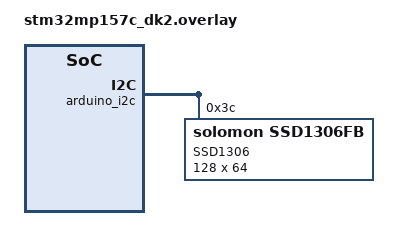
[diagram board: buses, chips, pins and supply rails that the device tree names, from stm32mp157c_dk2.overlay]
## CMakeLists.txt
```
# SPDX-License-Identifier: Apache-2.0

cmake_minimum_required(VERSION 3.13.1)

# This sample is specific to x_nucleo_iks01a2 shield. Enforce -DSHIELD option
set(SHIELD x_nucleo_iks01a2)

include($ENV{ZEPHYR_BASE}/cmake/app/boilerplate.cmake NO_POLICY_SCOPE)
project(x_nucleo_iks01a2)

zephyr_compile_definitions(
  -DMETAL_MAX_DEVICE_REGIONS=2
  -DVIRTIO_SLAVE_ONLY
  )
target_include_directories(app PRIVATE $ENV{ZEPHYR_BASE}/drivers)
target_include_directories(app PRIVATE ${LIBMETAL_INCLUDE_DIR} ${OPENAMP_INCLUDE_DIR} ${PLATFORM_DIR})

FILE(GLOB app_sources src/*.c)
target_sources(app PRIVATE ${app_sources})
target_include_directories(app PRIVATE ${CMAKE_CURRENT_SOURCE_DIR}/..)
```

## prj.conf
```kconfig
CONFIG_STDOUT_CONSOLE=y
CONFIG_I2C=y
CONFIG_I2C_STM32_INTERRUPT=y
CONFIG_SENSOR=y
CONFIG_HTS221=y
CONFIG_LPS22HB=y
CONFIG_LSM6DSL=n
CONFIG_LIS2DH=n
CONFIG_LIS2MDL=n
CONFIG_HTS221_TRIGGER_NONE=y
CONFIG_LIS2MDL_TRIGGER_NONE=y

# Kmalloc
CONFIG_HEAP_MEM_POOL_SIZE=16384
#CONFIG_HEAP_MEM_POOL_SIZE=8096

# add display
CONFIG_DISPLAY=y
CONFIG_CFB_LOG_LEVEL_DBG=y
CONFIG_CHARACTER_FRAMEBUFFER=y
CONFIG_SSD1306=y

CONFIG_KERNEL_BIN_NAME="zephyr_shield_openamp_tty"
CONFIG_PRINTK=n
CONFIG_IPM=y
CONFIG_IPM_MCUX=y
CONFIG_PLATFORM_SPECIFIC_INIT=n
CONFIG_MAIN_STACK_SIZE=4096
CONFIG_OPENAMP=y
CONFIG_RSC_TABLE_NUM_RPMSG_BUFF=16
CONFIG_RSC_TABLE=y
```

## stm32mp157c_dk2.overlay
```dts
/*
 * Copyright (c) 2018, Diego Sueiro
 *
 * SPDX-License-Identifier: Apache-2.0
 */

/ {
	chosen {
		/*
		 * shared memory reserved for the inter-processor communication
		 */
		zephyr,ipc_shm = &mcusram3;
	};

	mcusram3: memory1@10040000 {
		compatible = "mmio-sram";
		reg = <0x10040000 DT_SIZE_K(64)>;
	};
};

&arduino_i2c {

	ssd1306@3c {
		compatible = "solomon,ssd1306fb";
		reg = <0x3c>;
		label = "SSD1306";
		width = <128>;
		height = <64>;
		segment-offset = <0>;
		page-offset = <0>;
		display-offset = <0>;
		segment-remap;
		com-invdir;
		prechargep = <0x22>;
	};
};


&mcusram {
	reg = <0x10000000 DT_SIZE_K(256)>;
};
```

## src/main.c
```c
/*
 * Copyright (c) 2018 STMicroelectronics
 *
 * SPDX-License-Identifier: Apache-2.0
 */

#include <zephyr.h>
#include <device.h>
#include <drivers/sensor.h>
#include <stdio.h>
#include <string.h>
#include <sys/util.h>

/* Display / Framebuffer */
#include <display/cfb.h>
#if defined(CONFIG_SSD1306)
#define DISPLAY_DRIVER		"SSD1306"
#endif

static struct sensor_value temp1, temp2, hum, press;
static struct sensor_value accel1[3], accel2[3];
static struct sensor_value gyro[3];
static struct sensor_value magn[3];
static struct device *hts221;
static struct device *lps22hb;
static struct device *lsm6dsl;
static struct device *lsm303agr_a;
static struct device *lsm303agr_m;
static bool hts221_available = true;
static bool lps22hb_available = true;
static bool lsm6dsl_available = true;
static bool lsm303agr_a_available = true;
static bool lsm303agr_m_available = true;
static struct device *dev_display;
static u16_t display_rows;
static u8_t display_ppt;
static u8_t display_font_width;
static u8_t display_font_height;
static bool display_available = false;

void init_sensors();
void init_display();
void stop_display();

#define _USE_OPENAMP 1

/* openAMP */
#ifdef _USE_OPENAMP
#include <ipm.h>

#include <openamp/open_amp.h>
#include <metal/device.h>
#include <resource_table.h>

#include <logging/log.h>
LOG_MODULE_REGISTER(zephyr_shield_openamp_tty, LOG_LEVEL_DBG);

#define RPMSG_CHAN_NAME	"rpmsg-tty-channel"
#define SHM_DEVICE_NAME	"shm"

/* constant derivated from linker symbols */
#define SHM_START_ADDR	DT_IPC_SHM_BASE_ADDRESS
#define SHM_SIZE	(DT_IPC_SHM_SIZE * 1024)

#define APP_TASK_STACK_SIZE (1024)
K_THREAD_STACK_DEFINE(thread_stack, APP_TASK_STACK_SIZE);
static struct k_thread thread_data;

static struct device *ipm_handle;

static metal_phys_addr_t shm_physmap = SHM_START_ADDR;

struct metal_device shm_device = {
	.name = SHM_DEVICE_NAME,
	.num_regions = 2,
	.regions = {
		{.virt = NULL}, /* shared memory */
		{.virt = NULL}, /* rsc_table memory */
	},
	.node = { NULL },
	.irq_num = 0,
	.irq_info = NULL
};

static struct metal_io_region *shm_io;
static struct rpmsg_virtio_shm_pool shpool;

static struct metal_io_region *rsc_io;
static struct rpmsg_virtio_device rvdev;

static void *rsc_table;

static char rcv_msg[20];  /* should receive "Hello world!" */
static unsigned int rcv_len;
static struct rpmsg_endpoint rcv_ept;

static K_SEM_DEFINE(data_sem, 0, 1);
static K_SEM_DEFINE(data_rx_sem, 0, 1);

static bool first_data = true;

static void platform_ipm_callback(void *context, u32_t id, volatile void *data)
{
	printf("%s: msg received from mb %d\n", __func__, id);

	if (2 == id) {
		/* receive shutdown */
		stop_display();
	}

	if (first_data)
		k_sem_give(&data_sem);
}

static int rpmsg_recv_callback(struct rpmsg_endpoint *ept, void *data,
			       size_t len, uint32_t src, void *priv)
{
	memcpy(rcv_msg, data, len);
	rcv_len = len;
	printf("--rpmsg_recv--\n");
	k_sem_give(&data_rx_sem);

	return RPMSG_SUCCESS;
}

static void receive_message(unsigned char **msg, unsigned int *len)
{
	while (k_sem_take(&data_rx_sem, K_NO_WAIT) != 0) {
		int status;
		if (first_data) {
			status = k_sem_take(&data_sem, K_FOREVER);
			first_data = false;
		} else {
			status = 0;
		}

		if (status == 0) {
			rproc_virtio_notified(rvdev.vdev, VRING1_ID);
		}
	}
	*len = rcv_len;
	*msg = rcv_msg;
}
static void new_service_cb(struct rpmsg_device *rdev, const char *name,
			   uint32_t src)
{
	printf("%s: unexpected ns service receive for name %s\n",
		__func__, name);
}

int mailbox_notify(void *priv, uint32_t id)
{
	ARG_UNUSED(priv);

	printf("%s: msg sent\n", __func__);
	ipm_send(ipm_handle, 0, id, NULL, 0);

	return 0;
}
int platform_init(void)
{
	void *rsc_tab_addr;
	int rsc_size;
	struct metal_device *device;
	struct metal_init_params metal_params = METAL_INIT_DEFAULTS;
	int status;

	status = metal_init(&metal_params);
	if (status) {
		printf("metal_init: failed: %d\n", status);
		return -1;
	}

	status = metal_register_generic_device(&shm_device);
	if (status) {
		printf("Couldn't register shared memory: %d\n", status);
		return -1;
	}

	status = metal_device_open("generic", SHM_DEVICE_NAME, &device);
	if (status) {
		printf("metal_device_open failed: %d\n", status);
		return -1;
	}

	/* declare shared memory region */
	metal_io_init(&device->regions[0], (void *)SHM_START_ADDR, &shm_physmap,
		      SHM_SIZE, -1, 0, NULL);

	shm_io = metal_device_io_region(device, 0);
	if (!shm_io) {
		printf("Failed to get shm_io region\n");
		return -1;
	}

	/* declare resource table region */
	rsc_table_get(&rsc_tab_addr, &rsc_size);
	rsc_table = (struct st_resource_table *)rsc_tab_addr;

	metal_io_init(&device->regions[1], rsc_table,
		      (metal_phys_addr_t *)rsc_table, rsc_size, -1, 0, NULL);

	rsc_io = metal_device_io_region(device, 1);
	if (!rsc_io) {
		printf("Failed to get rsc_io region\n");
		return -1;
	}

	/* setup IPM */
	ipm_handle = device_get_binding(DT_IPM_DEV/*"MAILBOX_0"*/);
	if (!ipm_handle) {
		printf("Failed to find ipm device\n");
		return -1;
	}

	ipm_register_callback(ipm_handle, platform_ipm_callback, NULL);

	status = ipm_set_enabled(ipm_handle, 1);
	if (status) {
		printf("ipm_set_enabled failed\n");
		return -1;
	}

	return 0;
}

static void cleanup_system(void)
{
	ipm_set_enabled(ipm_handle, 0);
	rpmsg_deinit_vdev(&rvdev);
	metal_finish();
}

struct  rpmsg_device *
platform_create_rpmsg_vdev(unsigned int vdev_index,
			   unsigned int role,
			   void (*rst_cb)(struct virtio_device *vdev),
			   rpmsg_ns_bind_cb ns_cb)
{
	struct fw_rsc_vdev_vring *vring_rsc;
	struct virtio_device *vdev;
	int ret;

	vdev = rproc_virtio_create_vdev(VIRTIO_DEV_SLAVE, VDEV_ID,
					rsc_table_to_vdev(rsc_table),
					rsc_io, NULL, mailbox_notify, NULL);

	if (!vdev) {
		printf("failed to create vdev\r\n");
		return NULL;
	}

	/* wait master rpmsg init completion */
	rproc_virtio_wait_remote_ready(vdev);

	vring_rsc = rsc_table_get_vring0(rsc_table);
	ret = rproc_virtio_init_vring(vdev, 0, vring_rsc->notifyid,
				      (void *)vring_rsc->da, rsc_io,
				      vring_rsc->num, vring_rsc->align);
	if (ret) {
		printf("failed to init vring 0\r\n");
		goto failed;
	}

	vring_rsc = rsc_table_get_vring1(rsc_table);
	ret = rproc_virtio_init_vring(vdev, 1, vring_rsc->notifyid,
				      (void *)vring_rsc->da, rsc_io,
				      vring_rsc->num, vring_rsc->align);
	if (ret) {
		printf("failed to init vring 1\r\n");
		goto failed;
	}

	rpmsg_virtio_init_shm_pool(&shpool, NULL, SHM_SIZE);
	ret =  rpmsg_init_vdev(&rvdev, vdev, ns_cb, shm_io, &shpool);

	if (ret) {
		printf("failed rpmsg_init_vdev\r\n");
		goto failed;
	}

	return rpmsg_virtio_get_rpmsg_device(&rvdev);

failed:
	rproc_virtio_remove_vdev(vdev);

	return NULL;
}
#endif /* _USE_OPENAMP */

#ifdef _USE_OPENAMP

void tty_display_send(char *msg, int len) {
		rpmsg_send(&rcv_ept, msg, len);
}
void trace_send(char *msg) {
	//printf("%s", msg);
}
void app_task(void *arg1, void *arg2, void *arg3)
{
	ARG_UNUSED(arg1);
	ARG_UNUSED(arg2);
	ARG_UNUSED(arg3);
	struct rpmsg_device *rpdev;
	unsigned char *msg;
	int len;
	int ret = 0;
	char message[128];
	char display_buf[16];
	u8_t line = 0;

	printk("\r\nOpenAMP[remote]  linux responder demo started\r\n");

	/* Initialize platform */
	ret = platform_init();
	if (ret) {
		printf("Failed to initialize platform\n");
		ret = -1;
		goto task_end;
	}

	rpdev = platform_create_rpmsg_vdev(0, VIRTIO_DEV_SLAVE, NULL,
					   new_service_cb);
	if (!rpdev) {
		printf("Failed to create rpmsg virtio device\n");
		ret = -1;
		goto task_end;
	}

	ret = rpmsg_create_ept(&rcv_ept, rpdev, RPMSG_CHAN_NAME,
			       RPMSG_ADDR_ANY, RPMSG_ADDR_ANY,
			       rpmsg_recv_callback, NULL);
	if (ret != 0)
		printf("error while creating endpoint(%d)\n", ret);

	ipm_send(ipm_handle, 0, 0, NULL, 0);

	init_sensors();
	init_display();

	if (display_available) {
		line = 0;
		printk("--init display screen --\n");

		cfb_framebuffer_clear(dev_display, false);
		cfb_print(dev_display, "Zephyr", 0, line++*display_font_height);
		cfb_print(dev_display, "   Waiting ", 0, line++*display_font_height);
		cfb_print(dev_display, "     TTY   ", 0, line++*display_font_height);
		cfb_print(dev_display, "    data   ", 0, line++*display_font_height);
		cfb_framebuffer_finalize(dev_display);
	}

	receive_message(&msg, &len);

	while (1) {
		int ret;
		line = 0;

		if (display_available)
			cfb_framebuffer_clear(dev_display, false);

		/* Get sensor samples */

		if (hts221_available && sensor_sample_fetch(hts221) < 0) {
			printf("HTS221 Sensor sample update error\n");
		}
		if (lps22hb_available && sensor_sample_fetch(lps22hb) < 0) {
			printf("LPS22HB Sensor sample update error\n");
		}
		if (lsm303agr_a_available && lsm6dsl_available && sensor_sample_fetch(lsm6dsl) < 0) {
			printf("LSM6DSL Sensor sample update error\n");
		}
		if (lsm303agr_a_available) {
			ret = sensor_sample_fetch(lsm303agr_a);
			if (ret < 0 && ret != -EBADMSG) {
				printf("LSM303AGR Accel Sensor sample update error\n");
			}
		}
		if (lsm303agr_m_available && sensor_sample_fetch(lsm303agr_m) < 0) {
			printf("LSM303AGR Magn Sensor sample update error\n");
		}

		/* Get sensor data */
		if (hts221_available) {
			sensor_channel_get(hts221, SENSOR_CHAN_AMBIENT_TEMP, &temp1);
			sensor_channel_get(hts221, SENSOR_CHAN_HUMIDITY, &hum);
		}
		if (lps22hb_available) {
			sensor_channel_get(lps22hb, SENSOR_CHAN_PRESS, &press);
			sensor_channel_get(lps22hb, SENSOR_CHAN_AMBIENT_TEMP, &temp2);
		}
		if (lsm6dsl_available) {
			sensor_channel_get(lsm6dsl, SENSOR_CHAN_ACCEL_XYZ, accel1);
			sensor_channel_get(lsm6dsl, SENSOR_CHAN_GYRO_XYZ, gyro);
		}
		if (lsm303agr_a_available)
			sensor_channel_get(lsm303agr_a, SENSOR_CHAN_ACCEL_XYZ, accel2);
		if (lsm303agr_m_available)
			sensor_channel_get(lsm303agr_m, SENSOR_CHAN_MAGN_XYZ, magn);

		/* Display sensor data */

		/* Erase previous */
/*		printf("\0033\014");*/

		trace_send("X-NUCLEO-IKS01A2 sensor dashboard\n\n");
		len = snprintf(message, sizeof(message), "X-NUCLEO-IKS01A2 sensor dashboard\n");
		tty_display_send(message, len);

		if (display_available)
			cfb_print(dev_display, "Zephyr", 0, line++*display_font_height);


		if (hts221_available) {
			/* temperature */
			len = snprintf(message, sizeof(message), "HTS221: Temperature: %.1f C\n",
				sensor_value_to_double(&temp1));

			trace_send(message);
			tty_display_send(message, len);

			/* humidity */
			len = snprintf(message, sizeof(message), "HTS221: Relative Humidity: %.1f%%\n",
					sensor_value_to_double(&hum));
			trace_send(message);
			tty_display_send(message, len);
			snprintf(display_buf, sizeof(display_buf), "T: %1f C",
					sensor_value_to_double(&temp1));
			if (display_available)
				cfb_print(dev_display, display_buf, 0, line++*display_font_height);

			snprintf(display_buf, sizeof(display_buf), "H: %1f%%",
					sensor_value_to_double(&hum));
			if (display_available)
				cfb_print(dev_display, display_buf, 0, line++*display_font_height);
		}

		if (lps22hb_available) {
			/* pressure */
			len = snprintf(message, sizeof(message), "LPS22HB: Pressure: %.3f hpa\n",
					sensor_value_to_double(&press)*10.0);
			trace_send(message);
			tty_display_send(message, len);

			/* lps22hb temperature */
			len = snprintf(message, sizeof(message), "LPS22HB: Temperature: %.1f C\n",
					sensor_value_to_double(&temp2));
			trace_send(message);
			tty_display_send(message, len);

			snprintf(display_buf, sizeof(display_buf), "P: %3f kpa",
					sensor_value_to_double(&press)*10.0);
			if (display_available)
				cfb_print(dev_display, display_buf, 0, line++*display_font_height);
			snprintf(display_buf, sizeof(display_buf), "T: %1fC",
					sensor_value_to_double(&temp2));
/*            if (display_available)*/
/*                cfb_print(dev_display, display_buf, 0, line++*display_font_height);*/
		}

		if (lsm6dsl_available) {
			/* lsm6dsl accel */
			len = snprintf(message, sizeof(message), "LSM6DSL: Accel (m.s-2): x: %.1f, y: %.1f, z: %.1f\n",
				sensor_value_to_double(&accel1[0]),
				sensor_value_to_double(&accel1[1]),
				sensor_value_to_double(&accel1[2]));
			trace_send(message);
			tty_display_send(message, len);

			/* lsm6dsl gyro */
			len = snprintf(message, sizeof(message), "LSM6DSL: Gyro (dps): x: %.3f, y: %.3f, z: %.3f\n",
				sensor_value_to_double(&gyro[0]),
				sensor_value_to_double(&gyro[1]),
				sensor_value_to_double(&gyro[2]));
			printf("%s", message);
			tty_display_send(message, len);
		}

		if (lsm303agr_a) {
			/* lsm303agr accel */
			len = snprintf(message, sizeof(message), "LSM303AGR: Accel (m.s-2): x: %.1f, y: %.1f, z: %.1f\n",
				sensor_value_to_double(&accel2[0]),
				sensor_value_to_double(&accel2[1]),
				sensor_value_to_double(&accel2[2]));
			trace_send(message);
			tty_display_send(message, len);
		}

		if (lsm303agr_m) {
			/* lsm303agr magn */
			len = snprintf(message, sizeof(message), "LSM303AGR: Magn (gauss): x: %.3f, y: %.3f, z: %.3f\n",
				sensor_value_to_double(&magn[0]),
				sensor_value_to_double(&magn[1]),
				sensor_value_to_double(&magn[2]));
			trace_send(message);
			tty_display_send(message, len);
		}

		if (display_available)
			cfb_framebuffer_finalize(dev_display);

		k_sleep(2000);
	}

	rpmsg_destroy_ept(&rcv_ept);

task_end:
	cleanup_system();

	printk("OpenAMP demo ended\n");
}

#endif /* DEMO_OPENAMP */

void init_sensors() {
	/* search in devicetree if sensors are referenced */
	hts221 = device_get_binding(DT_INST_0_ST_HTS221_LABEL);
	lps22hb = device_get_binding(DT_INST_0_ST_LPS22HB_PRESS_LABEL);
	lsm6dsl = device_get_binding(DT_INST_0_ST_LSM6DSL_LABEL);
	lsm303agr_a = device_get_binding(DT_INST_0_ST_LIS2DH_LABEL);
	lsm303agr_m = device_get_binding(DT_INST_0_ST_LIS2MDL_MAGN_LABEL);

	if (hts221 == NULL) {
		printf("Could not get HTS221 device\n");
		hts221_available = false;
	}
	if (lps22hb == NULL) {
		printf("Could not get LPS22HB device\n");
		lps22hb_available = false;
	}
	if (lsm6dsl == NULL) {
		printf("Could not get LSM6DSL device\n");
		lsm6dsl_available = false;
	}
	if (lsm303agr_a == NULL) {
		printf("Could not get LSM303AGR Accel device\n");
		lsm303agr_a_available = false;
	}
	if (lsm303agr_m == NULL) {
		printf("Could not get LSM303AGR Magn device\n");
		lsm303agr_m_available = false;
	}

	/* set LSM6DSL accel/gyro sampling frequency to 104 Hz */
	struct sensor_value odr_attr;

	odr_attr.val1 = 104;
	odr_attr.val2 = 0;

	if (lsm6dsl_available && sensor_attr_set(lsm6dsl, SENSOR_CHAN_ACCEL_XYZ,
			    SENSOR_ATTR_SAMPLING_FREQUENCY, &odr_attr) < 0) {
		printk("Cannot set sampling frequency for accelerometer.\n");
		return;
	}

	if (lsm6dsl_available && sensor_attr_set(lsm6dsl, SENSOR_CHAN_GYRO_XYZ,
			    SENSOR_ATTR_SAMPLING_FREQUENCY, &odr_attr) < 0) {
		printk("Cannot set sampling frequency for gyro.\n");
		return;
	}
}
void init_display() {
	/* init display */
	dev_display = device_get_binding(DISPLAY_DRIVER);
	if (dev_display == NULL) {
		printf("Display Device not found\n");
	} else {
		display_available = true;

		if (display_set_pixel_format(dev_display, PIXEL_FORMAT_MONO10) != 0) {
			printf("Failed to set required pixel format PIXEL_FORMAT_MONO10\n");
			return;
		}
		if (cfb_framebuffer_init(dev_display)) {
			printf("Framebuffer initialization failed!\n");
			return;
		}
		cfb_framebuffer_clear(dev_display, true);

		display_blanking_off(dev_display);

		display_rows = cfb_get_display_parameter(dev_display, CFB_DISPLAY_ROWS);
		display_ppt = cfb_get_display_parameter(dev_display, CFB_DISPLAY_PPT);
		for (int idx = 0; idx < 42; idx++) {
			if (cfb_get_font_size(dev_display, idx, &display_font_width, &display_font_height)) {
				break;
			}
			cfb_framebuffer_set_font(dev_display, idx);
			printf("idx: %d font width %d, font height %d\n",
					idx, display_font_width, display_font_height);
		}
		// for idx: 0 font width 10, font height 16
		cfb_framebuffer_set_font(dev_display, 0);
		cfb_get_font_size(dev_display, 0, &display_font_width, &display_font_height);

		printf("x_res %d, y_res %d, ppt %d, rows %d, cols %d\n",
			cfb_get_display_parameter(dev_display, CFB_DISPLAY_WIDTH),
			cfb_get_display_parameter(dev_display, CFB_DISPLAY_HEIGH),
			display_ppt,
			display_rows,
			cfb_get_display_parameter(dev_display, CFB_DISPLAY_COLS));
	}
}
void stop_display() {
	display_blanking_on(dev_display);
}

void main(void)
{
#ifdef _USE_OPENAMP
	/* openAMP */
	printk("Starting application thread!\n");
	k_thread_create(&thread_data, thread_stack, APP_TASK_STACK_SIZE,
			(k_thread_entry_t)app_task,
			NULL, NULL, NULL, K_PRIO_COOP(7), 0, 0);
#else

	char display_buf[16];
	u8_t line = 0;

	init_sensors();
	init_display();

	while (1) {
		int ret;
		line = 0;

		if (display_available)
			cfb_framebuffer_clear(dev_display, false);

		/* Get sensor samples */

		if (hts221_available && sensor_sample_fetch(hts221) < 0) {
			printf("HTS221 Sensor sample update error\n");
		}
		if (lps22hb_available && sensor_sample_fetch(lps22hb) < 0) {
			printf("LPS22HB Sensor sample update error\n");
		}
		if (lsm303agr_a_available && lsm6dsl_available && sensor_sample_fetch(lsm6dsl) < 0) {
			printf("LSM6DSL Sensor sample update error\n");
		}
		if (lsm303agr_a_available) {
			ret = sensor_sample_fetch(lsm303agr_a);
			if (ret < 0 && ret != -EBADMSG) {
				printf("LSM303AGR Accel Sensor sample update error\n");
			}
		}
		if (lsm303agr_m_available && sensor_sample_fetch(lsm303agr_m) < 0) {
			printf("LSM303AGR Magn Sensor sample update error\n");
		}

		/* Get sensor data */

		if (hts221_available) {
			sensor_channel_get(hts221, SENSOR_CHAN_AMBIENT_TEMP, &temp1);
			sensor_channel_get(hts221, SENSOR_CHAN_HUMIDITY, &hum);
		}
		if (lps22hb_available) {
			sensor_channel_get(lps22hb, SENSOR_CHAN_PRESS, &press);
			sensor_channel_get(lps22hb, SENSOR_CHAN_AMBIENT_TEMP, &temp2);
		}
		if (lsm6dsl_available) {
			sensor_channel_get(lsm6dsl, SENSOR_CHAN_ACCEL_XYZ, accel1);
			sensor_channel_get(lsm6dsl, SENSOR_CHAN_GYRO_XYZ, gyro);
		}
		if (lsm303agr_a_available)
			sensor_channel_get(lsm303agr_a, SENSOR_CHAN_ACCEL_XYZ, accel2);
		if (lsm303agr_m_available)
			sensor_channel_get(lsm303agr_m, SENSOR_CHAN_MAGN_XYZ, magn);

		/* Display sensor data */

		/* Erase previous */
/*		printf("\0033\014");*/

		printf("X-NUCLEO-IKS01A2 sensor dashboard\n\n");

		if (display_available)
			cfb_print(dev_display, "Zephyr", 0, line++*display_font_height);


		if (hts221_available) {
			/* temperature */
			printf("HTS221: Temperature: %.1f C\n",
				sensor_value_to_double(&temp1));

			/* humidity */
			printf("HTS221: Relative Humidity: %.1f%%\n",
					sensor_value_to_double(&hum));
			snprintf(display_buf, sizeof(display_buf), "T: %1f C",
					sensor_value_to_double(&temp1));
			if (display_available)
				cfb_print(dev_display, display_buf, 0, line++*display_font_height);

			snprintf(display_buf, sizeof(display_buf), "H: %1f%%",
					sensor_value_to_double(&hum));
			if (display_available)
				cfb_print(dev_display, display_buf, 0, line++*display_font_height);

		}

		if (lps22hb_available) {
			/* pressure */
			printf("LPS22HB: Pressure:%.3f kpa\n",
					sensor_value_to_double(&press));

			/* lps22hb temperature */
			printf("LPS22HB: Temperature: %.1f C\n",
					sensor_value_to_double(&temp2));

			snprintf(display_buf, sizeof(display_buf), "P: %3f kpa",
					sensor_value_to_double(&press));
			if (display_available)
				cfb_print(dev_display, display_buf, 0, line++*display_font_height);
			snprintf(display_buf, sizeof(display_buf), "T: %1fC",
					sensor_value_to_double(&temp2));
/*            if (display_available)*/
/*                cfb_print(dev_display, display_buf, 0, line++*display_font_height);*/

		}

		if (lsm6dsl_available) {
			/* lsm6dsl accel */
			printf("LSM6DSL: Accel (m.s-2): x: %.1f, y: %.1f, z: %.1f\n",
				sensor_value_to_double(&accel1[0]),
				sensor_value_to_double(&accel1[1]),
				sensor_value_to_double(&accel1[2]));

			/* lsm6dsl gyro */
			printf("LSM6DSL: Gyro (dps): x: %.3f, y: %.3f, z: %.3f\n",
				sensor_value_to_double(&gyro[0]),
				sensor_value_to_double(&gyro[1]),
				sensor_value_to_double(&gyro[2]));
		}

		if (lsm303agr_a) {
			/* lsm303agr accel */
			printf("LSM303AGR: Accel (m.s-2): x: %.1f, y: %.1f, z: %.1f\n",
				sensor_value_to_double(&accel2[0]),
				sensor_value_to_double(&accel2[1]),
				sensor_value_to_double(&accel2[2]));
		}

		if (lsm303agr_m) {
			/* lsm303agr magn */
			printf("LSM303AGR: Magn (gauss): x: %.3f, y: %.3f, z: %.3f\n",
				sensor_value_to_double(&magn[0]),
				sensor_value_to_double(&magn[1]),
				sensor_value_to_double(&magn[2]));
		}

		if (display_available)
			cfb_framebuffer_finalize(dev_display);

		k_sleep(2000);
	}
#endif /* DEMO_OPENAMP */
}
```
